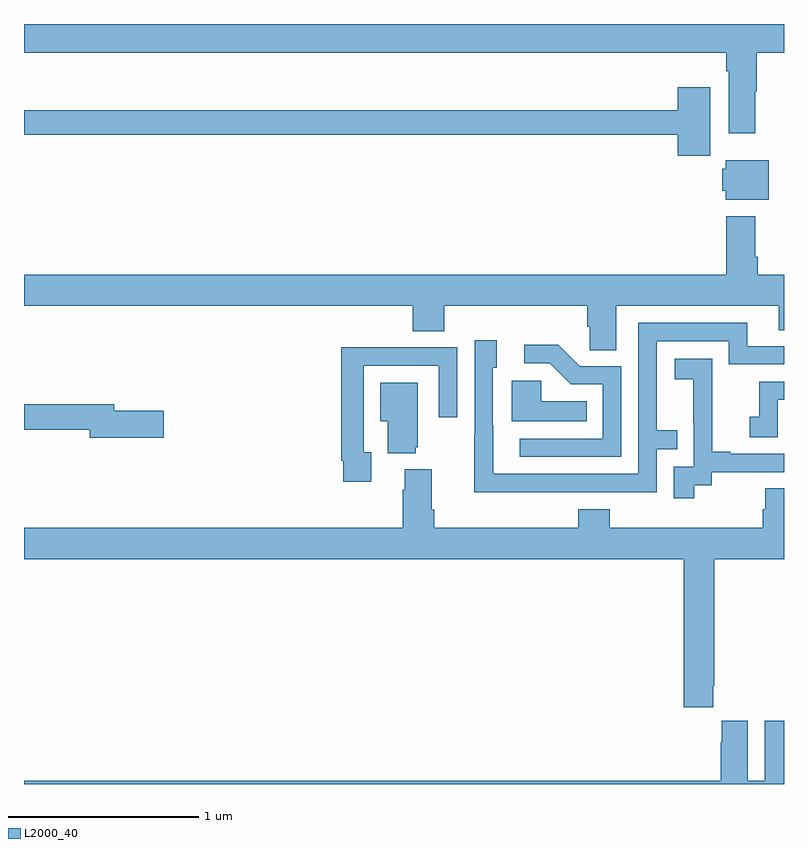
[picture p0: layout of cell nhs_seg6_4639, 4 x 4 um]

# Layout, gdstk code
import gdstk
lib = gdstk.Library(unit=1e-6, precision=1e-09)
def P(c, l, *ps):  # polygons
    for p in ps: c.add(gdstk.Polygon(p, *l))
L2000_40 = (2000, 40)

nhs_seg6_4639 = lib.new_cell('nhs_seg6_4639')
P(nhs_seg6_4639, L2000_40, [(388.849,935.146),(388.857,935.146),(388.857,935.348),(389,935.348),(389,935.5),(385,935.5),(385,935.348),(388.697,935.348),(388.697,935.252),(388.709,935.252),(388.709,934.926),(388.849,934.926)],
  [(388.612,935.167),(388.442,935.167),(388.442,935.047),(385,935.047),(385,934.918),(388.442,934.918),(388.442,934.806),(388.612,934.806)],
  [(388.921,934.783),(388.694,934.783),(388.694,934.737),(388.676,934.737),(388.676,934.623),(388.694,934.623),(388.694,934.574),(388.921,934.574)],
  [(388.117,934.016),(388.973,934.016),(388.973,933.889),(389,933.889),(389,934.18),(388.862,934.18),(388.862,934.276),(388.849,934.276),(388.849,934.489),(388.697,934.489),(388.697,934.18),(385,934.18),(385,934.016),(387.047,934.016),(387.047,933.883),(387.212,933.883),(387.212,934.016),(387.965,934.016),(387.965,933.907),(387.978,933.907),(387.978,933.784),(388.117,933.784)],
  [(387.833,933.036),(388.329,933.036),(388.329,933.261),(388.439,933.261),(388.439,933.362),(388.329,933.362),(388.329,933.831),(388.71,933.831),(388.71,933.708),(389,933.708),(389,933.804),(388.807,933.804),(388.807,933.927),(388.233,933.927),(388.233,933.132),(387.469,933.132),(387.469,933.386),(387.468,933.386),(387.468,933.69),(387.487,933.69),(387.487,933.835),(387.372,933.835),(387.372,933.341),(387.37,933.341),(387.37,933.035),(387.833,933.035)],
  [(388.143,933.699),(387.924,933.699),(387.811,933.812),(387.633,933.812),(387.633,933.714),(387.767,933.714),(387.878,933.603),(388.047,933.603),(388.047,933.318),(387.609,933.318),(387.609,933.222),(388.143,933.222)],
  [(386.827,933.246),(386.787,933.246),(386.787,933.702),(387.183,933.702),(387.183,933.429),(387.279,933.429),(387.279,933.798),(386.963,933.798),(386.963,933.8),(386.671,933.8),(386.671,933.202),(386.679,933.202),(386.679,933.09),(386.827,933.09)],
  [(388.528,933.073),(388.62,933.073),(388.62,933.141),(389,933.141),(389,933.237),(388.717,933.237),(388.717,933.25),(388.622,933.25),(388.622,933.533),(388.623,933.533),(388.623,933.739),(388.425,933.739),(388.425,933.629),(388.523,933.629),(388.523,933.401),(388.524,933.401),(388.524,933.171),(388.419,933.171),(388.419,933.003),(388.528,933.003)],
  [(387.962,933.514),(387.723,933.514),(387.723,933.622),(387.566,933.622),(387.566,933.41),(387.962,933.41)],
  [(388.968,933.522),(389,933.522),(389,933.618),(388.87,933.618),(388.87,933.433),(388.821,933.433),(388.821,933.324),(388.968,933.324)],
  [(387.062,933.273),(387.073,933.273),(387.073,933.613),(386.876,933.613),(386.876,933.41),(386.915,933.41),(386.915,933.242),(387.062,933.242)],
  [(385.735,933.464),(385.474,933.464),(385.474,933.5),(385,933.5),(385,933.364),(385.346,933.364),(385.346,933.322),(385.735,933.322)],
  [(388.627,932.017),(388.632,932.017),(388.632,932.684),(389,932.684),(389,933.056),(388.901,933.056),(388.901,932.946),(388.889,932.946),(388.889,932.848),(388.082,932.848),(388.082,932.947),(387.917,932.947),(387.917,932.848),(387.158,932.848),(387.158,932.944),(387.145,932.944),(387.145,933.157),(387.005,933.157),(387.005,933.05),(386.993,933.05),(386.993,932.848),(385,932.848),(385,932.684),(388.472,932.684),(388.472,931.905),(388.627,931.905)],
  [(389,931.834),(388.898,931.834),(388.898,931.516),(388.81,931.516),(388.81,931.834),(388.673,931.834),(388.673,931.721),(388.667,931.721),(388.667,931.516),(385,931.516),(385,931.5),(389,931.5)])

lib.write_gds('nhs_seg6_4639.gds')
